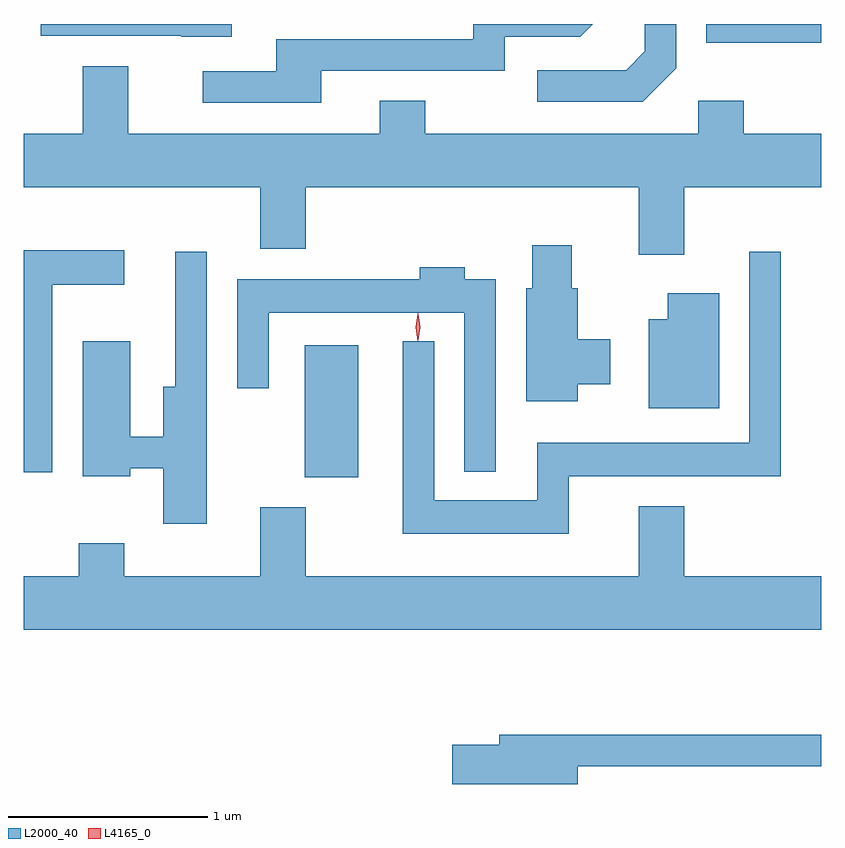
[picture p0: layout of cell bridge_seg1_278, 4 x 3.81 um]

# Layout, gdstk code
import gdstk
lib = gdstk.Library(unit=1e-6, precision=1e-09)
def R(c, l, rs):  # rectangles x0, y0, x1, y1
    for r in rs: c.add(gdstk.rectangle(r[:2], r[2:], *l))
def P(c, l, *ps):  # polygons
    for p in ps: c.add(gdstk.Polygon(p, *l))
L2000_40 = (2000, 40)
L4165_0 = (4165, 0)

bridge_seg1_278 = lib.new_cell('bridge_seg1_278')
R(bridge_seg1_278, L2000_40, [(838.346,902.561,838.614,903.224), (840.361,904.741,840.936,904.835)])
P(bridge_seg1_278, L2000_40, [(840.209,904.614),(840.209,904.835),(840.051,904.835),(840.051,904.697),(839.959,904.604),(839.513,904.604),(839.513,904.446),(840.042,904.446)],
  [(837.979,904.835),(837.021,904.835),(837.021,904.776),(837.725,904.776),(837.725,904.771),(837.979,904.771)],
  [(838.429,904.601),(839.349,904.601),(839.349,904.771),(839.727,904.771),(839.791,904.835),(839.191,904.835),(839.191,904.759),(838.201,904.759),(838.201,904.599),(837.833,904.599),(837.833,904.441),(838.429,904.441)],
  [(840.249,904.016),(840.936,904.016),(840.936,904.284),(840.549,904.284),(840.549,904.449),(840.321,904.449),(840.321,904.284),(838.949,904.284),(838.949,904.449),(838.721,904.449),(838.721,904.284),(837.459,904.284),(837.459,904.624),(837.231,904.624),(837.231,904.284),(836.936,904.284),(836.936,904.016),(838.121,904.016),(838.121,903.706),(838.349,903.706),(838.349,904.016),(840.021,904.016),(840.021,903.676),(840.249,903.676)],
  [(839.714,903.026),(839.879,903.026),(839.879,903.254),(839.714,903.254),(839.714,903.509),(839.684,903.509),(839.684,903.724),(839.486,903.724),(839.486,903.509),(839.456,903.509),(839.456,902.941),(839.714,902.941)],
  [(837.079,903.526),(837.439,903.526),(837.439,903.699),(836.936,903.699),(836.936,902.586),(837.079,902.586)],
  [(837.854,903.693),(837.696,903.693),(837.696,903.014),(837.636,903.014),(837.636,902.764),(837.469,902.764),(837.469,903.244),(837.231,903.244),(837.231,902.566),(837.469,902.566),(837.469,902.606),(837.636,902.606),(837.636,902.326),(837.854,902.326)],
  [(839.669,902.566),(840.734,902.566),(840.734,903.693),(840.576,903.693),(840.576,902.734),(839.511,902.734),(839.511,902.444),(838.994,902.444),(838.994,903.243),(838.836,903.243),(838.836,902.276),(839.669,902.276)],
  [(839.304,903.554),(839.149,903.554),(839.149,903.614),(838.921,903.614),(838.921,903.554),(838.006,903.554),(838.006,903.008),(838.164,903.008),(838.164,903.386),(839.146,903.386),(839.146,902.588),(839.304,902.588)],
  [(840.424,903.484),(840.166,903.484),(840.166,903.354),(840.071,903.354),(840.071,902.906),(840.424,902.906)],
  [(840.936,902.064),(840.249,902.064),(840.249,902.414),(840.021,902.414),(840.021,902.064),(838.349,902.064),(838.349,902.409),(838.121,902.409),(838.121,902.064),(837.439,902.064),(837.439,902.229),(837.211,902.229),(837.211,902.064),(836.936,902.064),(836.936,901.796),(840.936,901.796)],
  [(839.714,901.111),(840.936,901.111),(840.936,901.269),(839.321,901.269),(839.321,901.219),(839.086,901.219),(839.086,901.021),(839.714,901.021)])
P(bridge_seg1_278, L4165_0, [(838.912,903.243),(838.912,903.244),(838.902,903.313),(838.912,903.382),(838.912,903.383),(838.913,903.382),(838.922,903.313),(838.913,903.244)],
  [(838.915,903.247),(838.914,903.248),(838.905,903.314),(838.914,903.38),(838.914,903.38),(838.915,903.38),(838.924,903.314),(838.915,903.248)])

lib.write_gds('bridge_seg1_278.gds')
